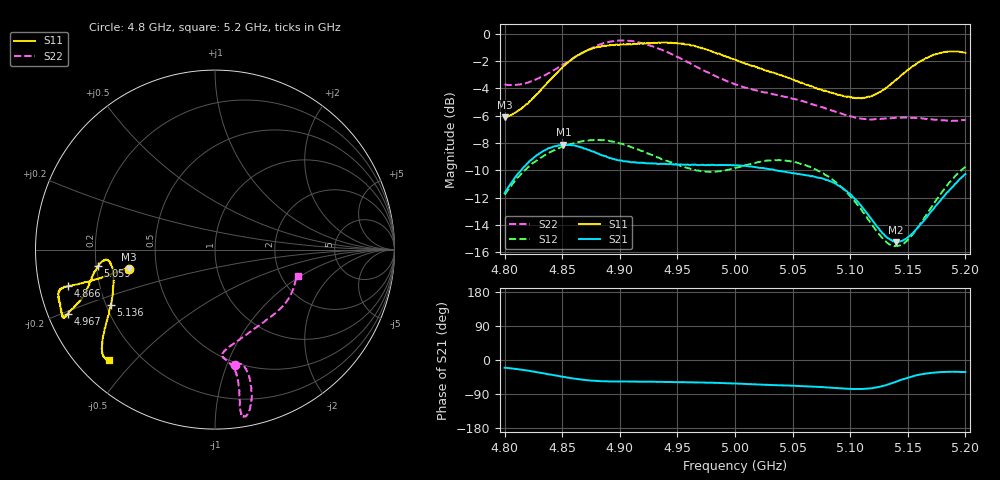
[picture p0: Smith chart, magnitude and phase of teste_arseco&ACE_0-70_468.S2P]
! Network Analyzer HP8722D
! Hewlett-Packard
! Data name: Linha & Wilkinson
! Saver's name: Rodrigo Anjos
! Comments: Teste da utilização de aquisição
! continua pelo VNA HP8722D
! Time and date: 8/5/2025 16:39
!  Frequency  S11  S21  S12  S22
# HZ  S  MA R 50
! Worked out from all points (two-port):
!   401 points, 4.8 GHz to 5.2 GHz, reference 50 ohm
!   highest |S21| = -8.13 dB at 4.851 GHz (marker M1); lowest = -15.3 dB at 5.14 GHz (marker M2)
!   |S21| within 3 dB of the highest: 4.804 GHz to 5.09 GHz (285.6 MHz wide, 5.77 % of centre); 5.18996 GHz to end of sweep
!   lowest |S11| = -6.1 dB at 4.8 GHz (marker M3), VSWR 2.95, Z = 17.1 - j4.86 ohm
!   |S11| at or under -10 dB: nowhere
!   |S22| runs from -6.4 to -0.5 dB; largest |S21 - S12| = 0.62
!   S11 on the Smith chart (normalised r, x): 4.8 GHz: 0.34, -0.10; 4.866 GHz: 0.09, -0.12; 4.967 GHz: 0.06, -0.21; 5.059 GHz: 0.21, -0.07; 5.136 GHz: 0.22, -0.24; 5.2 GHz: 0.10, -0.42
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4.8e9  0.4937 -167.4  0.2606 -20.5  0.2573 -141.6  0.6514 -80.2
4.826e9  0.5886 -166.8  0.3538 -30.9  0.3385 -145.8  0.6764 -75.8
4.851e9  0.7594 -165.8  0.3924 -44.5  0.3868 -150.3  0.7725 -75.1
4.866e9  0.8443 -166.0  0.3835 -51.4  0.4027 -152.8  0.8439 -75.9
4.867e9  0.8511 -166.0  0.3833 -51.8  0.4036 -152.9  0.8481 -76.1
4.879e9  0.89 -165.7  0.3666 -55.0  0.4075 -154.8  0.8983 -77.3
4.898e9  0.9117 -163.1  0.3443 -56.7  0.3978 -156.9  0.9424 -79.4
4.913e9  0.9187 -160.0  0.3385 -57.0  0.3811 -157.3  0.9362 -80.7
4.934e9  0.9278 -156.6  0.3333 -57.7  0.3517 -155.9  0.8798 -81.0
4.967e9  0.8964 -156.4  0.3308 -59.1  0.3152 -148.2  0.7539 -80.0
5e9  0.8032 -159.4  0.3296 -62.2  0.3224 -137.7  0.6525 -81.6
5.034e9  0.7188 -165.7  0.3167 -66.4  0.3441 -135.0  0.5992 -85.8
5.059e9  0.6582 -171.9  0.3048 -68.9  0.3318 -136.9  0.5656 -84.6
5.067e9  0.6404 -173.4  0.3013 -70.0  0.3235 -137.6  0.5511 -82.6
5.099e9  0.5885 -172.1  0.2605 -76.1  0.2565 -139.4  0.4984 -67.2
5.115e9  0.5867 -165.0  0.2189 -75.7  0.2105 -135.7  0.4872 -55.7
5.134e9  0.6455 -153.2  0.1771 -63.5  0.1692 -118.9  0.4901 -42.9
5.136e9  0.6578 -152.1  0.1754 -61.3  0.1675 -116.4  0.4905 -41.7
5.14e9  0.6785 -150.2  0.1726 -57.2  0.1673 -111.0  0.4921 -39.4
5.151e9  0.7416 -145.2  0.1809 -45.8  0.1776 -97.1  0.4929 -33.6
5.171e9  0.831 -139.3  0.2252 -33.8  0.233 -81.4  0.4856 -24.9
5.2e9  0.8511 -133.7  0.3062 -32.0  0.3257 -77.6  0.4828 -17.7
